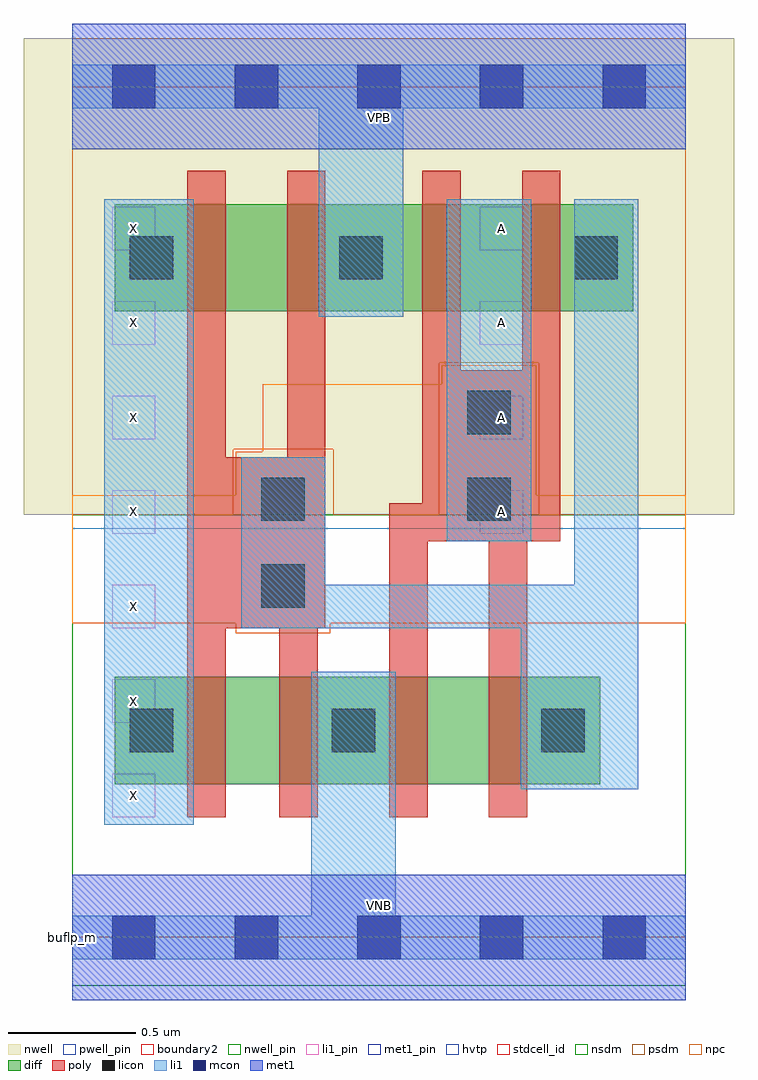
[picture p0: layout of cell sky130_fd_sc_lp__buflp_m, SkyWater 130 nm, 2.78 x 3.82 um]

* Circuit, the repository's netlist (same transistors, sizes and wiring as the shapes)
* Copyright 2020 The SkyWater PDK Authors
*
* Licensed under the Apache License, Version 2.0 (the "License");
* you may not use this file except in compliance with the License.
* You may obtain a copy of the License at
*
*     https://www.apache.org/licenses/LICENSE-2.0
*
* Unless required by applicable law or agreed to in writing, software
* distributed under the License is distributed on an "AS IS" BASIS,
* WITHOUT WARRANTIES OR CONDITIONS OF ANY KIND, either express or implied.
* See the License for the specific language governing permissions and
* limitations under the License.
*
* SPDX-License-Identifier: Apache-2.0

.SUBCKT sky130_fd_sc_lp__buflp_m A VGND VNB VPB VPWR X
*.PININFO A:I VGND:I VNB:I VPB:I VPWR:I X:O
MMIN1 Ab A net24 VNB sky130_fd_pr__nfet_01v8 m=1 w=0.42U l=0.15U mult=1 sa=0.265
+ sb=0.265 sd=0.28 area=0.063 perim=1.14
MMIN2 X Ab net20 VNB sky130_fd_pr__nfet_01v8 m=1 w=0.42U l=0.15U mult=1 sa=0.265
+ sb=0.265 sd=0.28 area=0.063 perim=1.14
MI7 net20 Ab VGND VNB sky130_fd_pr__nfet_01v8 m=1 w=0.42U l=0.15U mult=1 sa=0.265
+ sb=0.265 sd=0.28 area=0.063 perim=1.14
MI6 net24 A VGND VNB sky130_fd_pr__nfet_01v8 m=1 w=0.42U l=0.15U mult=1 sa=0.265
+ sb=0.265 sd=0.28 area=0.063 perim=1.14
MMIP1 Ab A net47 VPB sky130_fd_pr__pfet_01v8_hvt m=1 w=0.42U l=0.15U mult=1 sa=0.265
+ sb=0.265 sd=0.28 area=0.063 perim=1.14
MMIP2 X Ab net43 VPB sky130_fd_pr__pfet_01v8_hvt m=1 w=0.42U l=0.15U mult=1 sa=0.265
+ sb=0.265 sd=0.28 area=0.063 perim=1.14
MI5 net47 A VPWR VPB sky130_fd_pr__pfet_01v8_hvt m=1 w=0.42U l=0.15U mult=1 sa=0.265
+ sb=0.265 sd=0.28 area=0.063 perim=1.14
MI4 net43 Ab VPWR VPB sky130_fd_pr__pfet_01v8_hvt m=1 w=0.42U l=0.15U mult=1 sa=0.265
+ sb=0.265 sd=0.28 area=0.063 perim=1.14
.ENDS sky130_fd_sc_lp__buflp_m

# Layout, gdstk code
import gdstk
lib = gdstk.Library(unit=1e-6, precision=1e-09)
def R(c, l, rs):  # rectangles x0, y0, x1, y1
    for r in rs: c.add(gdstk.rectangle(r[:2], r[2:], *l))
def A(c, l, x, y, w, h, nx, ny, dx, dy):  # array of equal rectangles
    R(c, l, [(x+i*dx, y+j*dy, x+i*dx+w, y+j*dy+h) for i in range(nx) for j in range(ny)])
def P(c, l, *ps):  # polygons
    for p in ps: c.add(gdstk.Polygon(p, *l))
nwell_pin = (64, 16)
nwell = (64, 20)
diff = (65, 20)
poly = (66, 20)
licon = (66, 44)
li1_pin = (67, 16)
li1 = (67, 20)
mcon = (67, 44)
met1_pin = (68, 16)
met1 = (68, 20)
hvtp = (78, 44)
stdcell_id = (81, 4)
nsdm = (93, 44)
psdm = (94, 20)
npc = (95, 20)
pwell_pin = (122, 16)
boundary2 = (236, 0)

sky130_fd_sc_lp__buflp_m = lib.new_cell('sky130_fd_sc_lp__buflp_m')
R(sky130_fd_sc_lp__buflp_m, nwell_pin, [(0,3.085,2.4,3.33)])
R(sky130_fd_sc_lp__buflp_m, nwell, [(-0.19,1.655,2.59,3.52)])
R(sky130_fd_sc_lp__buflp_m, diff, [(0.165,0.6,2.065,1.02), (0.165,2.45,2.195,2.87)])
P(sky130_fd_sc_lp__buflp_m, poly, [(0.99,3),(0.84,3),(0.84,1.88),(0.6,1.88),(0.6,3),(0.45,3),(0.45,0.47),(0.6,0.47),(0.6,1.21),(0.81,1.21),(0.81,0.47),(0.96,0.47),(0.96,1.21),(0.99,1.21)],
  [(1.91,3),(1.76,3),(1.76,2.22),(1.52,2.22),(1.52,3),(1.37,3),(1.37,1.7),(1.24,1.7),(1.24,0.47),(1.39,0.47),(1.39,1.55),(1.63,1.55),(1.63,0.47),(1.78,0.47),(1.78,1.55),(1.91,1.55)])
R(sky130_fd_sc_lp__buflp_m, licon, [(0.225,0.725,0.395,0.895), (1.015,0.725,1.185,0.895), (1.835,0.725,2.005,0.895), (0.74,1.29,0.91,1.46), (0.74,1.63,0.91,1.8), (1.545,1.63,1.715,1.8), (1.545,1.97,1.715,2.14), (0.225,2.575,0.395,2.745), (1.045,2.575,1.215,2.745), (1.965,2.575,2.135,2.745)])
A(sky130_fd_sc_lp__buflp_m, li1_pin, 0.155, 0.47, 0.17, 0.17, 1, 7, 0, 0.37)
A(sky130_fd_sc_lp__buflp_m, li1_pin, 1.595, 1.58, 0.17, 0.17, 1, 4, 0, 0.37)
R(sky130_fd_sc_lp__buflp_m, li1, [(0.125,0.44,0.475,2.89), (1.465,1.55,1.795,2.89)])
P(sky130_fd_sc_lp__buflp_m, li1, [(0.965,2.43),(0.965,3.245),(0,3.245),(0,3.415),(2.4,3.415),(2.4,3.245),(1.295,3.245),(1.295,2.43)],
  [(0.935,0.085),(0.935,1.04),(1.265,1.04),(1.265,0.085),(2.4,0.085),(2.4,-0.085),(0,-0.085),(0,0.085)],
  [(0.66,1.21),(0.66,1.88),(0.99,1.88),(0.99,1.38),(1.965,1.38),(1.965,2.89),(2.215,2.89),(2.215,0.58),(1.755,0.58),(1.755,1.21)])
A(sky130_fd_sc_lp__buflp_m, mcon, 0.155, -0.085, 0.17, 0.17, 5, 2, 0.48, 3.33)
R(sky130_fd_sc_lp__buflp_m, met1_pin, [(0,0,2.4,0.245), (0,3.085,2.4,3.33)])
R(sky130_fd_sc_lp__buflp_m, met1, [(0,-0.245,2.4,0.245), (0,3.085,2.4,3.575)])
R(sky130_fd_sc_lp__buflp_m, hvtp, [(0,1.6,2.4,3.33)])
R(sky130_fd_sc_lp__buflp_m, stdcell_id, [(0,0,2.4,3.33)])
R(sky130_fd_sc_lp__buflp_m, nsdm, [(0,-0.19,2.4,1.655)])
P(sky130_fd_sc_lp__buflp_m, psdm, [(2.4,3.52),(0,3.52),(0,1.655),(0.63,1.655),(0.63,1.91),(1.02,1.91),(1.02,1.655),(1.435,1.655),(1.435,2.25),(1.825,2.25),(1.825,1.655),(2.4,1.655)])
P(sky130_fd_sc_lp__buflp_m, npc, [(2.4,1.73),(1.815,1.73),(1.815,2.24),(1.445,2.24),(1.445,2.165),(0.745,2.165),(0.745,1.9),(0.64,1.9),(0.64,1.73),(0,1.73),(0,1.23),(0.64,1.23),(0.64,1.19),(1.01,1.19),(1.01,1.23),(2.4,1.23)])
R(sky130_fd_sc_lp__buflp_m, pwell_pin, [(0,0,2.4,0.245)])
R(sky130_fd_sc_lp__buflp_m, boundary2, [(0,0,2.4,3.33)])
sky130_fd_sc_lp__buflp_m.add(gdstk.Label('VNB', (1.2,0.123), layer=64, texttype=59))
sky130_fd_sc_lp__buflp_m.add(gdstk.Label('VPB', (1.2,3.208), layer=64, texttype=5))
sky130_fd_sc_lp__buflp_m.add(gdstk.Label('buflp_m', (0,0), layer=83, texttype=44))
sky130_fd_sc_lp__buflp_m.add(gdstk.Label('VPWR', (1.2,3.208), layer=68, texttype=5))
sky130_fd_sc_lp__buflp_m.add(gdstk.Label('VGND', (1.2,0.123), layer=68, texttype=5))
sky130_fd_sc_lp__buflp_m.add(gdstk.Label('A', (1.68,1.665), layer=67, texttype=5))
sky130_fd_sc_lp__buflp_m.add(gdstk.Label('A', (1.68,2.035), layer=67, texttype=5))
sky130_fd_sc_lp__buflp_m.add(gdstk.Label('A', (1.68,2.405), layer=67, texttype=5))
sky130_fd_sc_lp__buflp_m.add(gdstk.Label('A', (1.68,2.775), layer=67, texttype=5))
sky130_fd_sc_lp__buflp_m.add(gdstk.Label('X', (0.24,0.555), layer=67, texttype=5))
sky130_fd_sc_lp__buflp_m.add(gdstk.Label('X', (0.24,0.925), layer=67, texttype=5))
sky130_fd_sc_lp__buflp_m.add(gdstk.Label('X', (0.24,1.295), layer=67, texttype=5))
sky130_fd_sc_lp__buflp_m.add(gdstk.Label('X', (0.24,1.665), layer=67, texttype=5))
sky130_fd_sc_lp__buflp_m.add(gdstk.Label('X', (0.24,2.035), layer=67, texttype=5))
sky130_fd_sc_lp__buflp_m.add(gdstk.Label('X', (0.24,2.405), layer=67, texttype=5))
sky130_fd_sc_lp__buflp_m.add(gdstk.Label('X', (0.24,2.775), layer=67, texttype=5))

lib.write_gds('sky130_fd_sc_lp__buflp_m.gds')
